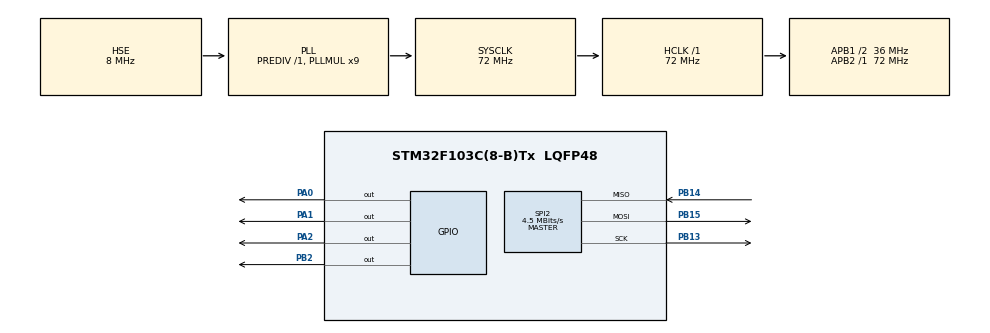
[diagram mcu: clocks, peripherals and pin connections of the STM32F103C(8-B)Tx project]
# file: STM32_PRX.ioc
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Mcu.Family=STM32F1
Mcu.Name=STM32F103C(8-B)Tx
Mcu.Package=LQFP48
NVIC.PriorityGroup=NVIC_PRIORITYGROUP_4
PA0-WKUP.Signal=GPIO_Output
PA1.Signal=GPIO_Output
PA13.Mode=Serial_Wire
PA13.Signal=SYS_JTMS-SWDIO
PA14.Mode=Serial_Wire
PA14.Signal=SYS_JTCK-SWCLK
PA2.Signal=GPIO_Output
PB13.Mode=Full_Duplex_Master
PB13.Signal=SPI2_SCK
PB14.Mode=Full_Duplex_Master
PB14.Signal=SPI2_MISO
PB15.Mode=Full_Duplex_Master
PB15.Signal=SPI2_MOSI
PB2.Signal=GPIO_Output
PD0-OSC_IN.Mode=HSE-External-Oscillator
PD0-OSC_IN.Signal=RCC_OSC_IN
PD1-OSC_OUT.Mode=HSE-External-Oscillator
PD1-OSC_OUT.Signal=RCC_OSC_OUT
ProjectManager.HeapSize=0x200
ProjectManager.StackSize=0x400
ProjectManager.TargetToolchain=MDK-ARM V5.32
RCC.AHBFreq_Value=72000000
RCC.APB1CLKDivider=RCC_HCLK_DIV2
RCC.APB1Freq_Value=36000000
RCC.APB1TimFreq_Value=72000000
RCC.APB2Freq_Value=72000000
RCC.APB2TimFreq_Value=72000000
RCC.HCLKFreq_Value=72000000
RCC.PLLMUL=RCC_PLL_MUL9
RCC.PLLSourceVirtual=RCC_PLLSOURCE_HSE
RCC.SYSCLKFreq_VALUE=72000000
RCC.SYSCLKSource=RCC_SYSCLKSOURCE_PLLCLK
RCC.USBFreq_Value=72000000
SPI2.BaudRatePrescaler=SPI_BAUDRATEPRESCALER_8
SPI2.CalculateBaudRate=4.5 MBits/s
SPI2.Direction=SPI_DIRECTION_2LINES
SPI2.Mode=SPI_MODE_MASTER
SPI2.VirtualType=VM_MASTER
board=custom

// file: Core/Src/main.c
/* USER CODE BEGIN Header */
/* USER CODE END Header */
#include "main.h"

/* USER CODE BEGIN Includes */
#include "nrf.h"
#include <string.h>
/* USER CODE END Includes */

SPI_HandleTypeDef hspi2;

void SystemClock_Config(void);
static void MX_GPIO_Init(void);
static void MX_SPI2_Init(void);

/* USER CODE BEGIN 0 */
uint8_t TxAddress[] = {0xEE,0xDD,0xCC,0xBB,0xAA};
uint8_t TxData[] = "Hello World\n";
/* USER CODE END 0 */

int main(void)
{

  /* MCU Configuration--------------------------------------------------------*/

  /* Reset of all peripherals, Initializes the Flash interface and the Systick. */
  HAL_Init();

  /* Configure the system clock */
  SystemClock_Config();

  /* Initialize all configured peripherals */
  MX_GPIO_Init();
  MX_SPI2_Init();
  /* USER CODE BEGIN 2 */
	NRF_Init();
	NRF_PTX_Begin(TxAddress, 40);
	uint8_t off_cmd[] = "OFF\n";
	uint8_t on_cmd[] =	"ON\n ";
	uint8_t value;
  /* USER CODE END 2 */

  /* Infinite loop */
  /* USER CODE BEGIN WHILE */
	while(1){
		value = HAL_GPIO_ReadPin(GPIOA, GPIO_PIN_0);
			if(value == 1){
				if(NRF_Transmit(on_cmd)){
					HAL_GPIO_WritePin(GPIOB,GPIO_PIN_2,0);
				}
			}
			else{
				if(NRF_Transmit(off_cmd))
					{
					HAL_GPIO_WritePin(GPIOB,GPIO_PIN_2,1);
				}
			}

    /* USER CODE END WHILE */

	}
}

void SystemClock_Config(void)
{
  RCC_OscInitTypeDef RCC_OscInitStruct = {0};
  RCC_ClkInitTypeDef RCC_ClkInitStruct = {0};

  /** Initializes the RCC Oscillators according to the specified parameters
  * in the RCC_OscInitTypeDef structure.
  */
  RCC_OscInitStruct.OscillatorType = RCC_OSCILLATORTYPE_HSE;
  RCC_OscInitStruct.HSEState = RCC_HSE_ON;
  RCC_OscInitStruct.HSEPredivValue = RCC_HSE_PREDIV_DIV1;
  RCC_OscInitStruct.HSIState = RCC_HSI_ON;
  RCC_OscInitStruct.PLL.PLLState = RCC_PLL_ON;
  RCC_OscInitStruct.PLL.PLLSource = RCC_PLLSOURCE_HSE;
  RCC_OscInitStruct.PLL.PLLMUL = RCC_PLL_MUL9;
  if (HAL_RCC_OscConfig(&RCC_OscInitStruct) != HAL_OK)
  {
    Error_Handler();
  }

  /** Initializes the CPU, AHB and APB buses clocks
  */
  RCC_ClkInitStruct.ClockType = RCC_CLOCKTYPE_HCLK|RCC_CLOCKTYPE_SYSCLK
                              |RCC_CLOCKTYPE_PCLK1|RCC_CLOCKTYPE_PCLK2;
  RCC_ClkInitStruct.SYSCLKSource = RCC_SYSCLKSOURCE_PLLCLK;
  RCC_ClkInitStruct.AHBCLKDivider = RCC_SYSCLK_DIV1;
  RCC_ClkInitStruct.APB1CLKDivider = RCC_HCLK_DIV2;
  RCC_ClkInitStruct.APB2CLKDivider = RCC_HCLK_DIV1;

  if (HAL_RCC_ClockConfig(&RCC_ClkInitStruct, FLASH_LATENCY_2) != HAL_OK)
  {
    Error_Handler();
  }
}

static void MX_SPI2_Init(void)
{

  /* SPI2 parameter configuration*/
  hspi2.Instance = SPI2;
  hspi2.Init.Mode = SPI_MODE_MASTER;
  hspi2.Init.Direction = SPI_DIRECTION_2LINES;
  hspi2.Init.DataSize = SPI_DATASIZE_8BIT;
  hspi2.Init.CLKPolarity = SPI_POLARITY_LOW;
  hspi2.Init.CLKPhase = SPI_PHASE_1EDGE;
  hspi2.Init.NSS = SPI_NSS_SOFT;
  hspi2.Init.BaudRatePrescaler = SPI_BAUDRATEPRESCALER_8;
  hspi2.Init.FirstBit = SPI_FIRSTBIT_MSB;
  hspi2.Init.TIMode = SPI_TIMODE_DISABLE;
  hspi2.Init.CRCCalculation = SPI_CRCCALCULATION_DISABLE;
  hspi2.Init.CRCPolynomial = 10;
  if (HAL_SPI_Init(&hspi2) != HAL_OK)
  {
    Error_Handler();
  }

}

static void MX_GPIO_Init(void)
{
  GPIO_InitTypeDef GPIO_InitStruct = {0};

  /* GPIO Ports Clock Enable */
  __HAL_RCC_GPIOD_CLK_ENABLE();
  __HAL_RCC_GPIOA_CLK_ENABLE();
  __HAL_RCC_GPIOB_CLK_ENABLE();

  /*Configure GPIO pin Output Level */
  HAL_GPIO_WritePin(GPIOA, GPIO_PIN_0|GPIO_PIN_1|GPIO_PIN_2, GPIO_PIN_RESET);

  /*Configure GPIO pin Output Level */
  HAL_GPIO_WritePin(GPIOB, GPIO_PIN_2, GPIO_PIN_RESET);

  /*Configure GPIO pins : PA0 PA1 PA2 */
  GPIO_InitStruct.Pin = GPIO_PIN_0|GPIO_PIN_1|GPIO_PIN_2;
  GPIO_InitStruct.Mode = GPIO_MODE_OUTPUT_PP;
  GPIO_InitStruct.Pull = GPIO_NOPULL;
  GPIO_InitStruct.Speed = GPIO_SPEED_FREQ_LOW;
  HAL_GPIO_Init(GPIOA, &GPIO_InitStruct);

  /*Configure GPIO pin : PB2 */
  GPIO_InitStruct.Pin = GPIO_PIN_2;
  GPIO_InitStruct.Mode = GPIO_MODE_OUTPUT_PP;
  GPIO_InitStruct.Pull = GPIO_NOPULL;
  GPIO_InitStruct.Speed = GPIO_SPEED_FREQ_LOW;
  HAL_GPIO_Init(GPIOB, &GPIO_InitStruct);

}

void Error_Handler(void)
{
}
